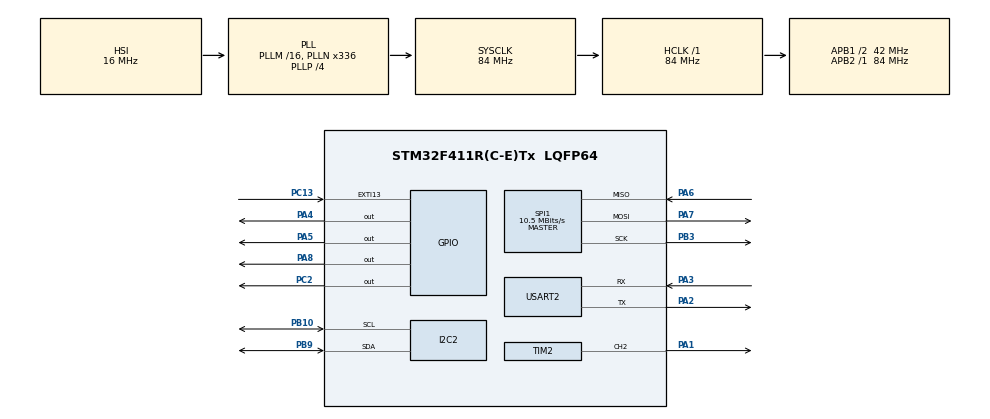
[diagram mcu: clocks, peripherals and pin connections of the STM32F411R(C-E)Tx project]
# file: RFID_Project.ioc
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Mcu.Family=STM32F4
Mcu.Name=STM32F411R(C-E)Tx
Mcu.Package=LQFP64
NVIC.EXTI15_10_IRQn=true\:0\:0\:false\:false\:true\:true\:true\:true
NVIC.PriorityGroup=NVIC_PRIORITYGROUP_0
NVIC.USART2_IRQn=true\:0\:0\:false\:false\:true\:true\:true\:true
PA1.GPIO_Speed=GPIO_SPEED_FREQ_VERY_HIGH
PA1.Signal=S_TIM2_CH2
PA13.Mode=Serial_Wire
PA13.Signal=SYS_JTMS-SWDIO
PA14.Mode=Serial_Wire
PA14.Signal=SYS_JTCK-SWCLK
PA2.Mode=Asynchronous
PA2.Signal=USART2_TX
PA3.Mode=Asynchronous
PA3.Signal=USART2_RX
PA4.Signal=GPIO_Output
PA5.Signal=GPIO_Output
PA6.Mode=Full_Duplex_Master
PA6.Signal=SPI1_MISO
PA7.Mode=Full_Duplex_Master
PA7.Signal=SPI1_MOSI
PA8.Signal=GPIO_Output
PB10.GPIO_Pu=GPIO_PULLUP
PB10.Mode=I2C
PB10.Signal=I2C2_SCL
PB3.Mode=Full_Duplex_Master
PB3.Signal=SPI1_SCK
PB9.GPIO_Pu=GPIO_PULLUP
PB9.Mode=I2C
PB9.Signal=I2C2_SDA
PC13-ANTI_TAMP.GPIO_ModeDefaultEXTI=GPIO_MODE_IT_RISING
PC13-ANTI_TAMP.GPIO_PuPd=GPIO_PULLDOWN
PC13-ANTI_TAMP.Signal=GPXTI13
PC2.Signal=GPIO_Output
PH0\ -\ OSC_IN.Mode=HSE-External-Oscillator
PH0\ -\ OSC_IN.Signal=RCC_OSC_IN
PH1\ -\ OSC_OUT.Mode=HSE-External-Oscillator
PH1\ -\ OSC_OUT.Signal=RCC_OSC_OUT
ProjectManager.HeapSize=0x200
ProjectManager.StackSize=0x400
ProjectManager.TargetToolchain=STM32CubeIDE
RCC.48MHZClocksFreq_Value=84000000
RCC.AHBFreq_Value=84000000
RCC.APB1CLKDivider=RCC_HCLK_DIV2
RCC.APB1Freq_Value=42000000
RCC.APB1TimFreq_Value=84000000
RCC.APB2Freq_Value=84000000
RCC.APB2TimFreq_Value=84000000
RCC.CortexFreq_Value=84000000
RCC.FLatency-AdvancedSettings=FLASH_LATENCY_2
RCC.HCLKFreq_Value=84000000
RCC.HSE_VALUE=8000000
RCC.HSI_VALUE=16000000
RCC.LSE_VALUE=32768
RCC.PLLN=336
RCC.PLLP=RCC_PLLP_DIV4
RCC.SYSCLKFreq_VALUE=84000000
RCC.SYSCLKSource=RCC_SYSCLKSOURCE_PLLCLK
RCC.VCOOutputFreq_Value=336000000
SH.S_TIM2_CH2.0=TIM2_CH2,PWM Generation2 CH2
SPI1.BaudRatePrescaler=SPI_BAUDRATEPRESCALER_8
SPI1.CalculateBaudRate=10.5 MBits/s
SPI1.Direction=SPI_DIRECTION_2LINES
SPI1.Mode=SPI_MODE_MASTER
SPI1.VirtualType=VM_MASTER
TIM1.Prescaler=71
TIM2.Channel-PWM\ Generation2\ CH2=TIM_CHANNEL_2
TIM2.Period=10000-1
TIM2.Prescaler=180-1
USART2.VirtualMode=VM_ASYNC
VP_TIM1_VS_ClockSourceINT.Mode=Internal
VP_TIM2_VS_ClockSourceINT.Mode=Internal
board=NUCLEO-F411RE

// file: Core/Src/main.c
/* USER CODE BEGIN Header */
/**
  ******************************************************************************
  * @file           : main.c
  * @brief          : Main program body
  ******************************************************************************
  * @attention
  *
  * Copyright (c) 2025 STMicroelectronics.
  * All rights reserved.
  *
  * This software is licensed under terms that can be found in the LICENSE file
  * in the root directory of this software component.
  * If no LICENSE file comes with this software, it is provided AS-IS.
  *
  ******************************************************************************
  */
/* USER CODE END Header */
#include "main.h"

/* USER CODE BEGIN Includes */
#include "RC522.h"
#include "string.h"
#include "stdio.h"
/* USER CODE END Includes */

/* USER CODE BEGIN PM */
void start_signal(void);
void delay_us(uint16_t us);
uint8_t check_response(void);
uint8_t read_byte(void);
void process_sensor_data(void);
/* USER CODE END PM */

I2C_HandleTypeDef hi2c2;

SPI_HandleTypeDef hspi1;

TIM_HandleTypeDef htim1;
TIM_HandleTypeDef htim2;

UART_HandleTypeDef huart2;

/* USER CODE BEGIN PV */
uint8_t count = 0;
uint8_t tx_buffer[25] = "Hello World\n\r" ;
char rsp[25];
uint8_t status;
uint8_t str[25];
uint8_t sNum[5];
uint8_t cnt = 5;

char *msg1 = "Door is Open!\n\r";
char msg2[50];
char *msg3 = "Door is Closed!\n\r";
char *msg4 = "Access denied!\n\r";

char msg[50];
uint8_t TOUT = 0, CheckSum, i;
uint8_t T_Byte1, T_Byte2, RH_Byte1, RH_Byte2;

/* USER CODE END PV */

void SystemClock_Config(void);
static void MX_GPIO_Init(void);
static void MX_USART2_UART_Init(void);
static void MX_TIM2_Init(void);
static void MX_SPI1_Init(void);
static void MX_I2C2_Init(void);
static void MX_TIM1_Init(void);

/* USER CODE BEGIN 0 */

/**
  * @brief  Callback for external GPIO interrupts.
  *         If the user button (PC13) is pressed, clear the UID buffer.
  * @param  GPIO_Pin: Specifies the pins connected to EXTI line.
  * @retval None
  */

#define DHT11_PORT GPIOC
#define DHT11_PIN GPIO_PIN_2
uint8_t RHI, RHD, TCI, TCD, SUM;
uint32_t pMillis, cMillis;
float tCelsius = 0;
float tFahrenheit = 0;
float RH = 0;

void microDelay (uint16_t delay)
{
  __HAL_TIM_SET_COUNTER(&htim1, 0);
  while (__HAL_TIM_GET_COUNTER(&htim1) < delay);
}

uint8_t DHT11_Start (void)
{
  uint8_t Response = 0;
  GPIO_InitTypeDef GPIO_InitStructPrivate = {0};
  GPIO_InitStructPrivate.Pin = DHT11_PIN;
  GPIO_InitStructPrivate.Mode = GPIO_MODE_OUTPUT_PP;
  GPIO_InitStructPrivate.Speed = GPIO_SPEED_FREQ_LOW;
  GPIO_InitStructPrivate.Pull = GPIO_NOPULL;
  HAL_GPIO_Init(DHT11_PORT, &GPIO_InitStructPrivate); // set the pin as output
  HAL_GPIO_WritePin (DHT11_PORT, DHT11_PIN, 0);   // pull the pin low
  HAL_Delay(20);   // wait for 20ms
  HAL_GPIO_WritePin (DHT11_PORT, DHT11_PIN, 1);   // pull the pin high
  microDelay (30);   // wait for 30us
  GPIO_InitStructPrivate.Mode = GPIO_MODE_INPUT;
  GPIO_InitStructPrivate.Pull = GPIO_PULLUP;
  HAL_GPIO_Init(DHT11_PORT, &GPIO_InitStructPrivate); // set the pin as input
  microDelay (40);
  if (!(HAL_GPIO_ReadPin (DHT11_PORT, DHT11_PIN)))
  {
    microDelay (80);
    if ((HAL_GPIO_ReadPin (DHT11_PORT, DHT11_PIN))) Response = 1;
  }
  pMillis = HAL_GetTick();
  cMillis = HAL_GetTick();
  while ((HAL_GPIO_ReadPin (DHT11_PORT, DHT11_PIN)) && pMillis + 2 > cMillis)
  {
    cMillis = HAL_GetTick();
  }
  return Response;
}

uint8_t DHT11_Read (void)
{
  uint8_t a,b;
  for (a=0;a<8;a++)
  {
    pMillis = HAL_GetTick();
    cMillis = HAL_GetTick();
    while (!(HAL_GPIO_ReadPin (DHT11_PORT, DHT11_PIN)) && pMillis + 2 > cMillis)
    {  // wait for the pin to go high
      cMillis = HAL_GetTick();
    }
    microDelay (40);   // wait for 40 us
    if (!(HAL_GPIO_ReadPin (DHT11_PORT, DHT11_PIN)))   // if the pin is low
      b&= ~(1<<(7-a));
    else
      b|= (1<<(7-a));
    pMillis = HAL_GetTick();
    cMillis = HAL_GetTick();
    while ((HAL_GPIO_ReadPin (DHT11_PORT, DHT11_PIN)) && pMillis + 2 > cMillis)
    {  // wait for the pin to go low
      cMillis = HAL_GetTick();
    }
  }
  return b;
}
int buttonPressed = 0;

void HAL_GPIO_EXTI_Callback(uint16_t GPIO_Pin)
{
  if(GPIO_Pin == GPIO_PIN_13)  // Check if the interrupt comes from PC13 (the user button)
  {
      memset(str, 0, sizeof(str));  // Clear the UID array by setting all bytes to 0
  }
}

void Display_temp(){
	if (DHT11_Start())
		      {
		          RHI = DHT11_Read(); // Relative humidity integral
		          RHD = DHT11_Read(); // Relative humidity decimal
		          TCI = DHT11_Read(); // Celsius integral
		          TCD = DHT11_Read(); // Celsius decimal
		          SUM = DHT11_Read(); // Check sum

		          if (RHI + RHD + TCI + TCD == SUM)
		          {

		              // Calculate temperature and humidity
		              tCelsius = (float)TCI + (float)(TCD / 10.0);
		              RH = (float)RHI + (float)(RHD / 10.0);

		              // Display temperature on line 1
		              lcd_clear();
		              lcd_put_cur(0, 0); // Line 1, Column 0
		              lcd_send_string("Temp: ");

		              int temp_int_part = (int)tCelsius; // Integer part of temperature
		              int temp_frac_part = (int)((tCelsius - temp_int_part) * 10); // Fractional part of temperature

		              lcd_send_char(temp_int_part / 10 + '0'); // Tens place
		              lcd_send_char(temp_int_part % 10 + '0'); // Units place
		              lcd_send_char('.');
		              lcd_send_char(temp_frac_part + '0'); // Fractional part
		              lcd_send_char(223);
		              lcd_send_string("C");

		              // Display humidity on line 2
		              lcd_put_cur(1, 0); // Line 2, Column 0
		              lcd_send_string("RH: ");

		              int rh_int_part = (int)RH; // Integer part of humidity
		              int rh_frac_part = (int)((RH - rh_int_part) * 10); // Fractional part of humidity

		              lcd_send_char(rh_int_part / 10 + '0'); // Tens place
		              lcd_send_char(rh_int_part % 10 + '0'); // Units place
		              lcd_send_char('.');
		              lcd_send_char(rh_frac_part + '0'); // Fractional part
		              lcd_send_string(" %");
		          }
		          else
		          {
		              lcd_clear();
		              lcd_put_cur(0, 0);
		              lcd_send_string("Checksum Err!");
		          }
		      }
		  HAL_Delay(400);
}

/* USER CODE END 0 */

int main(void)
{

  /* MCU Configuration--------------------------------------------------------*/

  /* Reset of all peripherals, Initializes the Flash interface and the Systick. */
  HAL_Init();

  /* Configure the system clock */
  SystemClock_Config();

  /* Initialize all configured peripherals */
  MX_GPIO_Init();
  MX_USART2_UART_Init();
  MX_TIM2_Init();
  MX_SPI1_Init();
  MX_I2C2_Init();
  MX_TIM1_Init();
  /* USER CODE BEGIN 2 */
  HAL_TIM_PWM_Start(&htim2, TIM_CHANNEL_2);
  MFRC522_Init();
  HAL_TIM_Base_Start(&htim1);
    lcd_init();
    lcd_clear();
    lcd_put_cur(0, 0);
    lcd_send_string("ON MODE");
    HAL_Delay(500);
  /* USER CODE END 2 */

  /* Infinite loop */
  /* USER CODE BEGIN WHILE */
  while (1)
  {
      // Scan the card ID
      status = MFRC522_Request(PICC_REQIDL, str);
      status = MFRC522_Anticoll(str);
      memcpy(sNum, str, 5);
      HAL_Delay(200);

      Display_temp();

      // Check if the UID matches the expected values.
      // Note: Compare numerically (without quotes) instead of as characters.
      if ((str[0] == 147) && (str[1] == 32) && (str[2] == 66) && (str[3] == 26)&& (str[4] == 0))
      {
          HAL_GPIO_WritePin(GPIOA, GPIO_PIN_5, GPIO_PIN_RESET);
          // Set PWM compare value to rotate servo to 180°
          __HAL_TIM_SET_COMPARE(&htim2,TIM_CHANNEL_2, 750);
          // Informing the opening of the door
          HAL_UART_Transmit(&huart2, (uint8_t*)msg1, strlen(msg1), HAL_MAX_DELAY);
          lcd_clear();
              lcd_put_cur(0, 0);
              lcd_send_string("Open");
          HAL_Delay(500);

          for (uint8_t i = 5; i>0; i--){
        	  snprintf(msg2, sizeof(msg2), "Closing door in: %d\n\r", i);
        	     HAL_UART_Transmit(&huart2, (uint8_t*)(msg2), strlen(msg2), HAL_MAX_DELAY);

        	     lcd_clear();
        	     lcd_put_cur(0, 2);
        	     lcd_send_string("Closing door ");
        	     lcd_put_cur(1, 6);
        	     lcd_send_string("in ");
        	     lcd_put_cur(1, 10);
        	     lcd_send_char('0' + i);

        	     HAL_Delay(1000);
          }
          __HAL_TIM_SET_COMPARE(&htim2, TIM_CHANNEL_2, 250);
          HAL_UART_Transmit(&huart2, (uint8_t*)msg3, strlen(msg3), HAL_MAX_DELAY);
          memset(str, 0, sizeof(str));
          lcd_clear();
          lcd_put_cur(0, 0);
          lcd_send_string("Closed");
          HAL_Delay(500);

      }

      else
      {
    	  if (((str[0] == 147) && (str[1] == 32) && (str[2] == 0) && (str[3] == 0)&& (str[4] == 0))||((str[0] == 147) && (str[1] == 203) && (str[2] == 66) && (str[3] == 26)&& (str[4] == 0))){
    	  HAL_GPIO_WritePin(GPIOA, GPIO_PIN_5, GPIO_PIN_SET);
          // Set PWM compare value for 0° position
          __HAL_TIM_SET_COMPARE(&htim2, TIM_CHANNEL_2, 250);

      }
      else{
    	  HAL_GPIO_WritePin(GPIOA, GPIO_PIN_5, GPIO_PIN_RESET);
      // Informing the opening of the door
      HAL_UART_Transmit(&huart2, (uint8_t*)msg4, strlen(msg4), HAL_MAX_DELAY);
      lcd_clear();
          lcd_put_cur(0, 0);
          lcd_send_string("Access denied!");
      HAL_Delay(2000);
      memset(str, 0, sizeof(str));

      }

      }
    /* USER CODE END WHILE */

  }
}

void SystemClock_Config(void)
{
  RCC_OscInitTypeDef RCC_OscInitStruct = {0};
  RCC_ClkInitTypeDef RCC_ClkInitStruct = {0};

  /** Configure the main internal regulator output voltage
  */
  __HAL_RCC_PWR_CLK_ENABLE();
  __HAL_PWR_VOLTAGESCALING_CONFIG(PWR_REGULATOR_VOLTAGE_SCALE1);

  /** Initializes the RCC Oscillators according to the specified parameters
  * in the RCC_OscInitTypeDef structure.
  */
  RCC_OscInitStruct.OscillatorType = RCC_OSCILLATORTYPE_HSI;
  RCC_OscInitStruct.HSIState = RCC_HSI_ON;
  RCC_OscInitStruct.HSICalibrationValue = RCC_HSICALIBRATION_DEFAULT;
  RCC_OscInitStruct.PLL.PLLState = RCC_PLL_ON;
  RCC_OscInitStruct.PLL.PLLSource = RCC_PLLSOURCE_HSI;
  RCC_OscInitStruct.PLL.PLLM = 16;
  RCC_OscInitStruct.PLL.PLLN = 336;
  RCC_OscInitStruct.PLL.PLLP = RCC_PLLP_DIV4;
  RCC_OscInitStruct.PLL.PLLQ = 4;
  if (HAL_RCC_OscConfig(&RCC_OscInitStruct) != HAL_OK)
  {
    Error_Handler();
  }

  /** Initializes the CPU, AHB and APB buses clocks
  */
  RCC_ClkInitStruct.ClockType = RCC_CLOCKTYPE_HCLK|RCC_CLOCKTYPE_SYSCLK
                              |RCC_CLOCKTYPE_PCLK1|RCC_CLOCKTYPE_PCLK2;
  RCC_ClkInitStruct.SYSCLKSource = RCC_SYSCLKSOURCE_PLLCLK;
  RCC_ClkInitStruct.AHBCLKDivider = RCC_SYSCLK_DIV1;
  RCC_ClkInitStruct.APB1CLKDivider = RCC_HCLK_DIV2;
  RCC_ClkInitStruct.APB2CLKDivider = RCC_HCLK_DIV1;

  if (HAL_RCC_ClockConfig(&RCC_ClkInitStruct, FLASH_LATENCY_2) != HAL_OK)
  {
    Error_Handler();
  }
}

static void MX_I2C2_Init(void)
{

  hi2c2.Instance = I2C2;
  hi2c2.Init.ClockSpeed = 100000;
  hi2c2.Init.DutyCycle = I2C_DUTYCYCLE_2;
  hi2c2.Init.OwnAddress1 = 0;
  hi2c2.Init.AddressingMode = I2C_ADDRESSINGMODE_7BIT;
  hi2c2.Init.DualAddressMode = I2C_DUALADDRESS_DISABLE;
  hi2c2.Init.OwnAddress2 = 0;
  hi2c2.Init.GeneralCallMode = I2C_GENERALCALL_DISABLE;
  hi2c2.Init.NoStretchMode = I2C_NOSTRETCH_DISABLE;
  if (HAL_I2C_Init(&hi2c2) != HAL_OK)
  {
    Error_Handler();
  }

}

static void MX_SPI1_Init(void)
{

  /* SPI1 parameter configuration*/
  hspi1.Instance = SPI1;
  hspi1.Init.Mode = SPI_MODE_MASTER;
  hspi1.Init.Direction = SPI_DIRECTION_2LINES;
  hspi1.Init.DataSize = SPI_DATASIZE_8BIT;
  hspi1.Init.CLKPolarity = SPI_POLARITY_LOW;
  hspi1.Init.CLKPhase = SPI_PHASE_1EDGE;
  hspi1.Init.NSS = SPI_NSS_SOFT;
  hspi1.Init.BaudRatePrescaler = SPI_BAUDRATEPRESCALER_8;
  hspi1.Init.FirstBit = SPI_FIRSTBIT_MSB;
  hspi1.Init.TIMode = SPI_TIMODE_DISABLE;
  hspi1.Init.CRCCalculation = SPI_CRCCALCULATION_DISABLE;
  hspi1.Init.CRCPolynomial = 10;
  if (HAL_SPI_Init(&hspi1) != HAL_OK)
  {
    Error_Handler();
  }

}

static void MX_TIM1_Init(void)
{

  TIM_ClockConfigTypeDef sClockSourceConfig = {0};
  TIM_MasterConfigTypeDef sMasterConfig = {0};

  htim1.Instance = TIM1;
  htim1.Init.Prescaler = 71;
  htim1.Init.CounterMode = TIM_COUNTERMODE_UP;
  htim1.Init.Period = 65535;
  htim1.Init.ClockDivision = TIM_CLOCKDIVISION_DIV1;
  htim1.Init.RepetitionCounter = 0;
  htim1.Init.AutoReloadPreload = TIM_AUTORELOAD_PRELOAD_DISABLE;
  if (HAL_TIM_Base_Init(&htim1) != HAL_OK)
  {
    Error_Handler();
  }
  sClockSourceConfig.ClockSource = TIM_CLOCKSOURCE_INTERNAL;
  if (HAL_TIM_ConfigClockSource(&htim1, &sClockSourceConfig) != HAL_OK)
  {
    Error_Handler();
  }
  sMasterConfig.MasterOutputTrigger = TIM_TRGO_RESET;
  sMasterConfig.MasterSlaveMode = TIM_MASTERSLAVEMODE_DISABLE;
  if (HAL_TIMEx_MasterConfigSynchronization(&htim1, &sMasterConfig) != HAL_OK)
  {
    Error_Handler();
  }

}

static void MX_TIM2_Init(void)
{

  TIM_ClockConfigTypeDef sClockSourceConfig = {0};
  TIM_MasterConfigTypeDef sMasterConfig = {0};
  TIM_OC_InitTypeDef sConfigOC = {0};

  htim2.Instance = TIM2;
  htim2.Init.Prescaler = 180-1;
  htim2.Init.CounterMode = TIM_COUNTERMODE_UP;
  htim2.Init.Period = 10000-1;
  htim2.Init.ClockDivision = TIM_CLOCKDIVISION_DIV1;
  htim2.Init.AutoReloadPreload = TIM_AUTORELOAD_PRELOAD_DISABLE;
  if (HAL_TIM_Base_Init(&htim2) != HAL_OK)
  {
    Error_Handler();
  }
  sClockSourceConfig.ClockSource = TIM_CLOCKSOURCE_INTERNAL;
  if (HAL_TIM_ConfigClockSource(&htim2, &sClockSourceConfig) != HAL_OK)
  {
    Error_Handler();
  }
  if (HAL_TIM_PWM_Init(&htim2) != HAL_OK)
  {
    Error_Handler();
  }
  sMasterConfig.MasterOutputTrigger = TIM_TRGO_RESET;
  sMasterConfig.MasterSlaveMode = TIM_MASTERSLAVEMODE_DISABLE;
  if (HAL_TIMEx_MasterConfigSynchronization(&htim2, &sMasterConfig) != HAL_OK)
  {
    Error_Handler();
  }
  sConfigOC.OCMode = TIM_OCMODE_PWM1;
  sConfigOC.Pulse = 0;
  sConfigOC.OCPolarity = TIM_OCPOLARITY_HIGH;
  sConfigOC.OCFastMode = TIM_OCFAST_DISABLE;
  if (HAL_TIM_PWM_ConfigChannel(&htim2, &sConfigOC, TIM_CHANNEL_2) != HAL_OK)
  {
    Error_Handler();
  }
  HAL_TIM_MspPostInit(&htim2);

}

static void MX_USART2_UART_Init(void)
{

  huart2.Instance = USART2;
  huart2.Init.BaudRate = 115200;
  huart2.Init.WordLength = UART_WORDLENGTH_8B;
  huart2.Init.StopBits = UART_STOPBITS_1;
  huart2.Init.Parity = UART_PARITY_NONE;
  huart2.Init.Mode = UART_MODE_TX_RX;
  huart2.Init.HwFlowCtl = UART_HWCONTROL_NONE;
  huart2.Init.OverSampling = UART_OVERSAMPLING_16;
  if (HAL_UART_Init(&huart2) != HAL_OK)
  {
    Error_Handler();
  }

}

static void MX_GPIO_Init(void)
{
  GPIO_InitTypeDef GPIO_InitStruct = {0};

  /* GPIO Ports Clock Enable */
  __HAL_RCC_GPIOC_CLK_ENABLE();
  __HAL_RCC_GPIOH_CLK_ENABLE();
  __HAL_RCC_GPIOA_CLK_ENABLE();
  __HAL_RCC_GPIOB_CLK_ENABLE();

  /*Configure GPIO pin Output Level */
  HAL_GPIO_WritePin(GPIOC, GPIO_PIN_2, GPIO_PIN_RESET);

  /*Configure GPIO pin Output Level */
  HAL_GPIO_WritePin(GPIOA, GPIO_PIN_4|GPIO_PIN_5|GPIO_PIN_8, GPIO_PIN_RESET);

  /*Configure GPIO pin : PC13 */
  GPIO_InitStruct.Pin = GPIO_PIN_13;
  GPIO_InitStruct.Mode = GPIO_MODE_IT_FALLING;
  GPIO_InitStruct.Pull = GPIO_NOPULL;
  HAL_GPIO_Init(GPIOC, &GPIO_InitStruct);

  /*Configure GPIO pin : PC2 */
  GPIO_InitStruct.Pin = GPIO_PIN_2;
  GPIO_InitStruct.Mode = GPIO_MODE_OUTPUT_PP;
  GPIO_InitStruct.Pull = GPIO_NOPULL;
  GPIO_InitStruct.Speed = GPIO_SPEED_FREQ_LOW;
  HAL_GPIO_Init(GPIOC, &GPIO_InitStruct);

  /*Configure GPIO pins : PA4 PA5 PA8 */
  GPIO_InitStruct.Pin = GPIO_PIN_4|GPIO_PIN_5|GPIO_PIN_8;
  GPIO_InitStruct.Mode = GPIO_MODE_OUTPUT_PP;
  GPIO_InitStruct.Pull = GPIO_NOPULL;
  GPIO_InitStruct.Speed = GPIO_SPEED_FREQ_LOW;
  HAL_GPIO_Init(GPIOA, &GPIO_InitStruct);

  /* EXTI interrupt init*/
  HAL_NVIC_SetPriority(EXTI15_10_IRQn, 0, 0);
  HAL_NVIC_EnableIRQ(EXTI15_10_IRQn);

}

void Error_Handler(void)
{
  __disable_irq();
  while (1)
  {
  }
}
